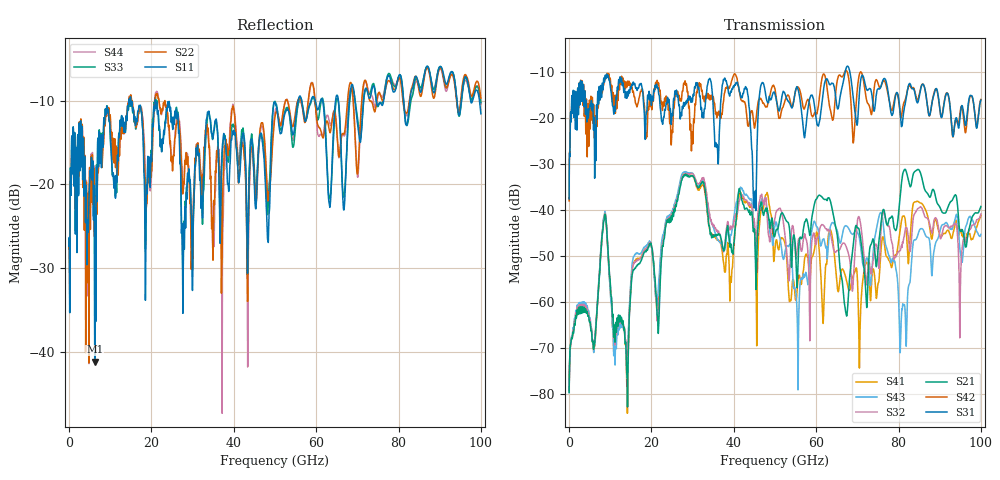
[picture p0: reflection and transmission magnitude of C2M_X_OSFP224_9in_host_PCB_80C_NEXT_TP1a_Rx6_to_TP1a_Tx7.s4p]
# GHz S RI R 45
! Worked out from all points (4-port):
!   4000 points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, 25 MHz to 100 GHz, reference 45 ohm
!   strongest paths, dB at 25 MHz, 25.02 GHz, 50.02 GHz, 75.03 GHz, 100 GHz:
!     S31: -37.6, -19.0, -14.9, -13.6, -16.1
!     S42: -38.0, -22.6, -13.7, -12.5, -15.9
!     S21: -79.6, -42.2, -45.5, -48.8, -39.2
!     S32: -78.8, -41.4, -41.7, -50.4, -40.9
!     S43: -79.8, -40.8, -43.2, -42.4, -45.3
!     S41: -79.4, -41.7, -47.9, -56.1, -41.2
!   lowest |S11| = -41.2 dB at 6.25 GHz (marker M1), VSWR 1.02, Z = 45.2 + j0.75 ohm
!   |S11| at or under -10 dB: start of sweep to 14.53 GHz; 15.01 GHz to 20.92 GHz (5.904 GHz wide, 32.9 % of centre); 21 GHz to 55.62 GHz (34.62 GHz wide, 90.4 % of centre) (the widest 3 of 14)
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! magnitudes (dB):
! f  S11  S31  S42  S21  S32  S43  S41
! 25 MHz  -27.4  -37.6  -38.0  -79.6  -78.8  -79.8  -79.4
! 6.25 GHz  -41.2  -31.4  -20.4  -68.8  -68.5  -69.2  -69.5
! 8.575 GHz  -12.6  -12.1  -11.7  -41.8  -41.6  -41.2  -41.5
! 14 GHz  -12.3  -15.7  -13.1  -75.2  -72.8  -71.9  -77.4
! 28.05 GHz  -26.1  -17.2  -12.4  -32.4  -32.2  -31.7  -32.0
! 55.48 GHz  -10.3  -13.4  -13.3  -54.8  -47.9  -66.1  -56.3
! 100 GHz  -11.6  -16.1  -15.9  -39.2  -40.9  -45.3  -41.2
